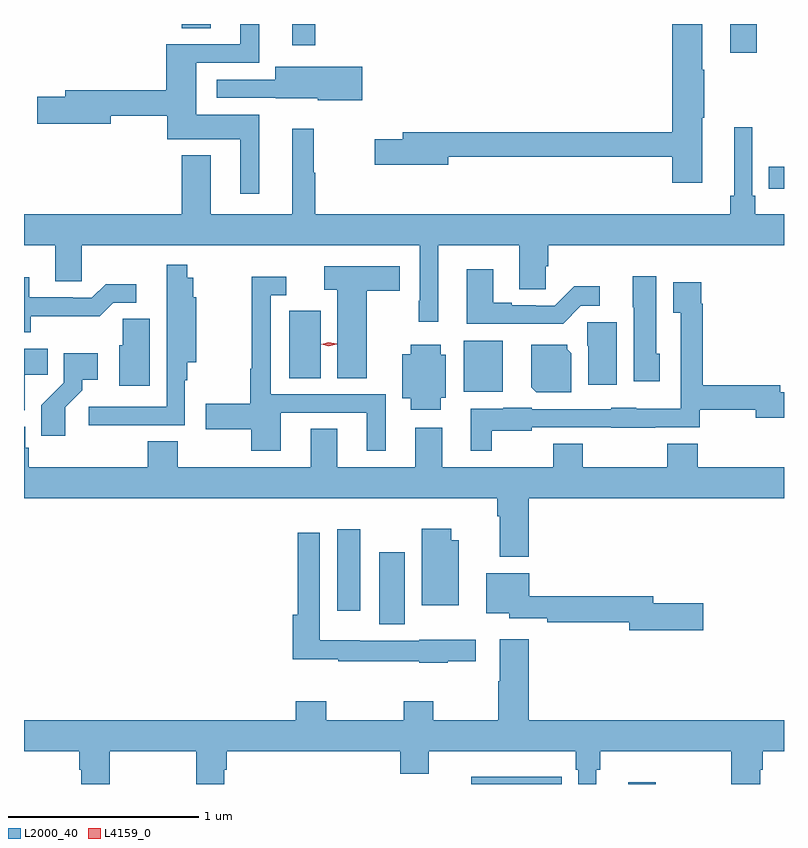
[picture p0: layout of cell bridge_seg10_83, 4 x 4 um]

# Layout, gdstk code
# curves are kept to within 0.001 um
import gdstk
lib = gdstk.Library(unit=1e-6, precision=1e-09)
def R(c, l, rs):  # rectangles x0, y0, x1, y1
    for r in rs: c.add(gdstk.rectangle(r[:2], r[2:], *l))
def P(c, l, *ps):  # polygons
    for p in ps: c.add(gdstk.Polygon(p, *l))
L2000_40 = (2000, 40)
L4159_0 = (4159, 0)

bridge_seg10_83 = lib.new_cell('bridge_seg10_83')
R(bridge_seg10_83, L2000_40, [(662.84,1289.488,662.986,1289.497), (661.532,1290.328,661.666,1290.709), (661.31,1290.399,661.432,1290.829), (661.976,1291.553,662.182,1291.822), (661.058,1291.624,661.222,1291.978), (663.58,1292.622,663.661,1292.738), (663.377,1293.336,663.517,1293.488), (661.073,1293.375,661.195,1293.488), (660.491,1293.466,660.643,1293.488)])
P(bridge_seg10_83, L2000_40, [(660.898,1293.01),(660.568,1293.01),(660.568,1293.285),(660.898,1293.285),(660.898,1293.488),(660.8,1293.488),(660.8,1293.381),(660.41,1293.381),(660.41,1293.14),(659.879,1293.14),(659.879,1293.104),(659.73,1293.104),(659.73,1292.962),(660.118,1292.962),(660.118,1293.004),(660.415,1293.004),(660.415,1292.882),(660.8,1292.882),(660.8,1292.595),(660.898,1292.595)],
  [(663.232,1292.995),(663.24,1292.995),(663.24,1293.248),(663.232,1293.248),(663.232,1293.487),(663.074,1293.487),(663.074,1292.918),(661.655,1292.918),(661.655,1292.882),(661.506,1292.882),(661.506,1292.747),(661.894,1292.747),(661.894,1292.79),(663.074,1292.79),(663.074,1292.652),(663.232,1292.652)],
  [(661.441,1293.264),(660.983,1293.264),(660.983,1293.195),(660.675,1293.195),(660.675,1293.099),(660.987,1293.099),(660.987,1293.098),(661.206,1293.098),(661.206,1293.086),(661.441,1293.086)],
  [(661.84,1292.324),(662.267,1292.324),(662.267,1292.092),(662.406,1292.092),(662.406,1292.214),(662.42,1292.214),(662.42,1292.324),(663.661,1292.324),(663.661,1292.488),(663.509,1292.488),(663.509,1292.584),(663.495,1292.584),(663.495,1292.944),(663.398,1292.944),(663.398,1292.584),(663.379,1292.584),(663.379,1292.488),(661.195,1292.488),(661.195,1292.705),(661.187,1292.705),(661.187,1292.938),(661.073,1292.938),(661.073,1292.488),(660.643,1292.488),(660.643,1292.797),(660.491,1292.797),(660.491,1292.488),(659.661,1292.488),(659.661,1292.324),(659.825,1292.324),(659.825,1292.134),(659.964,1292.134),(659.964,1292.324),(661.743,1292.324),(661.743,1292.032),(661.738,1292.032),(661.738,1291.92),(661.84,1291.92)],
  [(660.227,1291.377),(660.507,1291.377),(660.507,1291.613),(660.52,1291.613),(660.52,1291.709),(660.568,1291.709),(660.568,1292.049),(660.552,1292.049),(660.552,1292.152),(660.52,1292.152),(660.52,1292.221),(660.411,1292.221),(660.411,1291.473),(660.003,1291.473),(660.003,1291.375),(660.227,1291.375)],
  [(661.465,1292.083),(661.639,1292.083),(661.639,1292.212),(661.242,1292.212),(661.242,1292.09),(661.31,1292.09),(661.31,1291.624),(661.465,1291.624)],
  [(662.592,1292.004),(662.692,1292.004),(662.692,1292.107),(662.557,1292.107),(662.454,1292.004),(662.354,1292.004),(662.354,1292.007),(662.227,1292.007),(662.227,1292.02),(662.131,1292.02),(662.131,1292.197),(661.991,1292.197),(661.991,1291.91),(662.498,1291.91)],
  [(663.007,1291.752),(662.989,1291.752),(662.989,1292.161),(662.864,1292.161),(662.864,1291.998),(662.87,1291.998),(662.87,1291.608),(663.007,1291.608)],
  [(661.012,1291.443),(661.466,1291.443),(661.466,1291.242),(661.564,1291.242),(661.564,1291.539),(660.96,1291.539),(660.96,1292.061),(661.042,1292.061),(661.042,1292.158),(660.859,1292.158),(660.859,1291.673),(660.852,1291.673),(660.852,1291.49),(660.618,1291.49),(660.618,1291.355),(660.856,1291.355),(660.856,1291.242),(661.012,1291.242)],
  [(659.697,1291.95),(660.059,1291.949),(660.132,1292.022),(660.253,1292.022),(660.253,1292.119),(660.091,1292.119),(660.018,1292.046),(659.918,1292.046),(659.918,1292.049),(659.689,1292.049),(659.689,1292.155),(659.661,1292.155),(659.661,1291.865),(659.697,1291.865)],
  [(662.122,1291.346),(662.334,1291.346),(662.334,1291.365),(662.751,1291.365),(662.751,1291.364),(662.983,1291.364),(662.983,1291.365),(663.218,1291.365),(663.218,1291.458),(663.512,1291.458),(663.512,1291.415),(663.661,1291.415),(663.661,1291.55),(663.64,1291.55),(663.64,1291.586),(663.233,1291.586),(663.233,1292.015),(663.226,1292.015),(663.226,1292.128),(663.077,1292.128),(663.077,1291.967),(663.117,1291.967),(663.117,1291.462),(662.883,1291.462),(662.883,1291.468),(662.751,1291.468),(662.751,1291.461),(662.334,1291.461),(662.334,1291.468),(662.184,1291.468),(662.184,1291.462),(662.012,1291.462),(662.012,1291.241),(662.122,1291.241)],
  [(660.322,1291.937),(660.18,1291.937),(660.18,1291.797),(660.161,1291.797),(660.161,1291.584),(660.322,1291.584)],
  [(662.782,1291.917),(662.626,1291.917),(662.626,1291.794),(662.63,1291.794),(662.63,1291.59),(662.782,1291.59)],
  [(661.855,1291.521),(661.882,1291.521),(661.882,1291.746),(661.855,1291.746),(661.855,1291.801),(661.697,1291.801),(661.697,1291.75),(661.652,1291.75),(661.652,1291.517),(661.697,1291.517),(661.697,1291.457),(661.855,1291.457)],
  [(662.542,1291.754),(662.52,1291.776),(662.52,1291.801),(662.33,1291.801),(662.33,1291.576),(662.356,1291.55),(662.542,1291.55)],
  [(659.665,1291.642),(659.786,1291.642),(659.786,1291.78),(659.661,1291.78),(659.661,1291.454),(659.665,1291.454)],
  [(659.878,1291.471),(659.968,1291.561),(659.968,1291.616),(660.049,1291.616),(660.049,1291.756),(659.871,1291.756),(659.871,1291.601),(659.752,1291.482),(659.752,1291.32),(659.878,1291.32)],
  [(662.318,1290.992),(663.661,1290.992),(663.661,1291.156),(663.206,1291.156),(663.206,1291.28),(663.046,1291.28),(663.046,1291.156),(662.601,1291.156),(662.601,1291.28),(662.446,1291.28),(662.446,1291.156),(661.861,1291.156),(661.861,1291.363),(661.721,1291.363),(661.721,1291.156),(661.309,1291.156),(661.309,1291.358),(661.169,1291.358),(661.169,1291.156),(660.471,1291.156),(660.471,1291.292),(660.311,1291.292),(660.311,1291.156),(659.687,1291.156),(659.687,1291.257),(659.667,1291.257),(659.667,1291.369),(659.661,1291.369),(659.661,1290.992),(662.153,1290.992),(662.153,1290.896),(662.165,1290.896),(662.165,1290.683),(662.318,1290.683)],
  [(661.948,1290.772),(661.909,1290.772),(661.909,1290.832),(661.754,1290.832),(661.754,1290.428),(661.948,1290.428)],
  [(661.89,1290.135),(662.038,1290.135),(662.038,1290.247),(661.74,1290.247),(661.74,1290.243),(661.428,1290.243),(661.428,1290.244),(661.218,1290.244),(661.218,1290.811),(661.102,1290.811),(661.102,1290.379),(661.076,1290.379),(661.076,1290.145),(661.315,1290.145),(661.315,1290.135),(661.74,1290.135),(661.74,1290.125),(661.89,1290.125)],
  [(663.235,1290.44),(662.974,1290.44),(662.974,1290.476),(662.32,1290.476),(662.32,1290.598),(662.093,1290.598),(662.093,1290.386),(662.214,1290.386),(662.214,1290.36),(662.416,1290.36),(662.416,1290.34),(662.846,1290.34),(662.846,1290.298),(663.235,1290.298)],
  [(660.111,1289.66),(660.568,1289.66),(660.568,1289.488),(660.715,1289.488),(660.715,1289.562),(660.728,1289.562),(660.728,1289.66),(661.64,1289.66),(661.64,1289.543),(661.792,1289.543),(661.792,1289.66),(662.564,1289.66),(662.564,1289.564),(662.577,1289.564),(662.577,1289.488),(662.674,1289.488),(662.674,1289.564),(662.693,1289.564),(662.693,1289.66),(663.383,1289.66),(663.383,1289.488),(663.535,1289.488),(663.535,1289.564),(663.548,1289.564),(663.548,1289.66),(663.661,1289.66),(663.661,1289.824),(662.318,1289.824),(662.318,1290.25),(662.165,1290.25),(662.165,1290.029),(662.158,1290.029),(662.158,1289.824),(661.815,1289.824),(661.815,1289.923),(661.66,1289.923),(661.66,1289.824),(661.251,1289.824),(661.251,1289.923),(661.091,1289.923),(661.091,1289.824),(659.661,1289.824),(659.661,1289.66),(659.951,1289.66),(659.951,1289.562),(659.963,1289.562),(659.963,1289.488),(660.111,1289.488)],
  [(662.492,1289.526),(662.384,1289.526),(662.384,1289.527),(662.016,1289.527),(662.016,1289.488),(662.492,1289.488)])
P(bridge_seg10_83, L4159_0, [(661.266,1291.793),(661.226,1291.803),(661.225,1291.803),(661.226,1291.803),(661.266,1291.813),(661.306,1291.804),(661.307,1291.803),(661.306,1291.803)])

lib.write_gds('bridge_seg10_83.gds')
